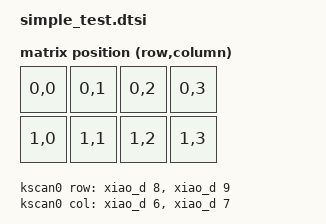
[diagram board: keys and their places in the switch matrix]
#include <dt-bindings/zmk/matrix_transform.h>

/ {
    chosen {
        zmk,kscan = &kscan0;
        zmk,matrix-transform = &default_transform;
    };

    default_transform: keymap_transform_0 {
        compatible = "zmk,matrix-transform";
        columns = <4>;
        rows = <2>;
        map = <
            RC(0,0) RC(0,1) RC(0,2) RC(0,3)
            RC(1,0) RC(1,1) RC(1,2) RC(1,3)
        >;
    };

    kscan0: kscan {
        compatible = "zmk,kscan-gpio-matrix";
        wakeup-source;

        diode-direction = "col2row";

        col-gpios
            = <&xiao_d 6 GPIO_ACTIVE_HIGH>  // TX D6
            , <&xiao_d 7 GPIO_ACTIVE_HIGH>  // TX D7
            ;

        row-gpios
            = <&xiao_d 8 (GPIO_ACTIVE_HIGH | GPIO_PULL_DOWN)>  // RX D8
            , <&xiao_d 9 (GPIO_ACTIVE_HIGH | GPIO_PULL_DOWN)>  // RX D9
            ;
    };
};
